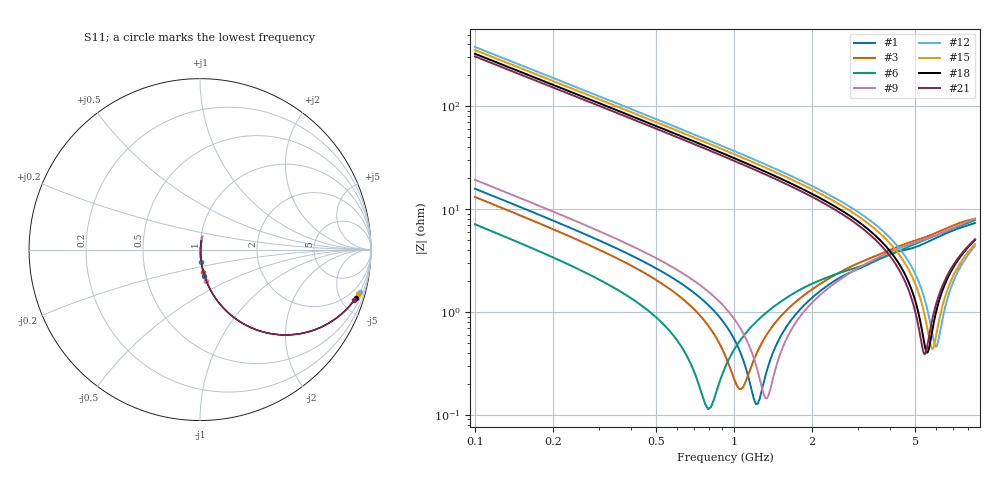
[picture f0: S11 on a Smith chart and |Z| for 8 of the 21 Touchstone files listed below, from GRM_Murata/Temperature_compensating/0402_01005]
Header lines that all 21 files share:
!These Parameters are Measured in Series Mode Connection
!Data Generated on Mar 30, 2021
!  o--ll--o
!Port1  Port2
!  o------o
!Operation Temp=25[degC], DC Bias Voltage=0[V]
!Freq. Start=100[MHz] Stop=9[GHz] 401[Steps]
# Hz S RI R 50
!Freq.(Hz) S11(Real) S11(Imag) S21(Real) S21(Imag) S12(Real) S12(Imag) S22(Real) S22(Imag)
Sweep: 100 MHz to 8.5 GHz
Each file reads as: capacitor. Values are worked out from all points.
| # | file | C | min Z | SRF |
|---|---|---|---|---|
| 1 | GRM0222C0J101GA02.s2p | 100 pF | 127 mohm | 1.224 GHz |
| 2 | GRM0222C0J111JA02.s2p | 110 pF | 172 mohm | 1.085 GHz |
| 3 | GRM0222C0J121GA02.s2p | 120 pF | 177 mohm | 1.061 GHz |
| 4 | GRM0222C0J151JA02.s2p | 150 pF | 149 mohm | 952.3 MHz |
| 5 | GRM0222C0J181JA02.s2p | 180 pF | 133 mohm | 880.6 MHz |
| 6 | GRM0222C0J221JA02.s2p | 220 pF | 113 mohm | 799.9 MHz |
| 7 | GRM0222C0J560JA02.s2p | 56 pF | 201 mohm | 1.549 GHz |
| 8 | GRM0222C0J680GA02.s2p | 68 pF | 176 mohm | 1.462 GHz |
| 9 | GRM0222C0J820JA02.s2p | 82 pF | 144 mohm | 1.332 GHz |
| 10 | GRM0222C1C4R0BA03.s2p | 4 pF | 459 mohm | 6.19 GHz |
| 11 | GRM0222C1C4R1BA03.s2p | 4.1 pF | 463 mohm | 6.089 GHz |
| 12 | GRM0222C1C4R2CA03.s2p | 4.2 pF | 459 mohm | 6.015 GHz |
| 13 | GRM0222C1C4R3CA03.s2p | 4.3 pF | 454 mohm | 5.943 GHz |
| 14 | GRM0222C1C4R4BA03.s2p | 4.4 pF | 440 mohm | 5.895 GHz |
| 15 | GRM0222C1C4R5BA03.s2p | 4.5 pF | 438 mohm | 5.827 GHz |
| 16 | GRM0222C1C4R6BA03.s2p | 4.6 pF | 434 mohm | 5.762 GHz |
| 17 | GRM0222C1C4R7BA03.s2p | 4.7 pF | 405 mohm | 5.656 GHz |
| 18 | GRM0222C1C4R9BA03.s2p | 4.9 pF | 402 mohm | 5.559 GHz |
| 19 | GRM0222C1C5R0CA03.s2p | 5 pF | 400 mohm | 5.502 GHz |
| 20 | GRM0222C1C5R1CA03.s2p | 5.1 pF | 391 mohm | 5.492 GHz |
| 21 | GRM0222C1C5R2CA03.s2p | 5.2 pF | 389 mohm | 5.438 GHz |
